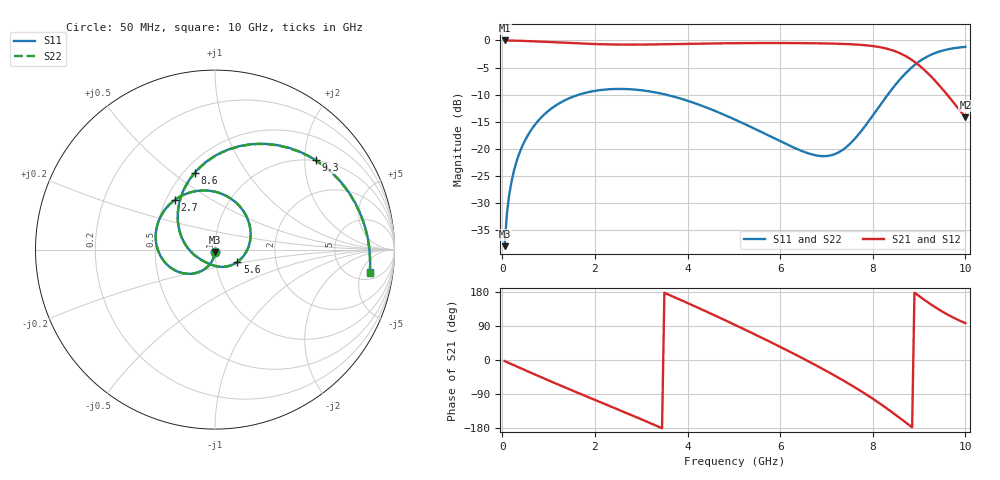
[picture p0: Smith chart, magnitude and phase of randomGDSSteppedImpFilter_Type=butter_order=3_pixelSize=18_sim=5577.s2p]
! freq	dB(S11)	phase(S11)	dB(S12)	phase(S12)
!  dB(S21)	phase(S21)	dB(S22)	phase(S22)
!S-par simulation data
#  GHz  S  DB  R 50
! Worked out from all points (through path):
!   200 points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, 50 MHz to 10 GHz, reference 50 ohm
!   highest |S21| = -0.01 dB at 50 MHz (marker M1); lowest = -14.2 dB at 10 GHz (marker M2)
!   group delay of S21, straight-line fit = 170 ps
!   lowest |S11| = -38.0 dB at 50 MHz (marker M3), VSWR 1.03, Z = 49.9 - j1.26 ohm
!   |S11| at or under -10 dB: start of sweep to 1.657 GHz; 3.531 GHz to 8.325 GHz (4.794 GHz wide, 80.9 % of centre)
!   |S22| runs from -38.0 to -1.2 dB; largest |S21 - S12| = 0
!   S11 on the Smith chart (normalised r, x): 50 MHz: 1.00, -0.03; 2.7 GHz: 0.56, +0.35; 5.6 GHz: 1.27, -0.18; 8.6 GHz: 0.56, +0.60; 9.3 GHz: 0.99, +2.27; 10 GHz: 7, -7
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0.05  -37.96 -92.5  -0.01 -2.8  -0.01 -2.8  -37.96 -92.5
0.1  -31.96 -95.4  -0.01 -5.5  -0.01 -5.5  -31.96 -95.4
0.2  -26.00 -101.0  -0.03 -11.0  -0.03 -11.0  -26.00 -101.0
0.5  -18.30 -117.7  -0.10 -27.3  -0.10 -27.3  -18.30 -117.7
1.15  -12.02 -152.4  -0.36 -61.8  -0.36 -61.8  -12.03 -152.5
1.75  -9.77 176.7  -0.60 -92.7  -0.60 -92.7  -9.77 176.6
2.7  -8.98 128.6  -0.77 -140.9  -0.77 -140.9  -8.98 128.4
3.4  -9.75 92.5  -0.72 -177.3  -0.72 -177.3  -9.75 92.2
4.15  -11.56 52.3  -0.61 142.1  -0.61 142.1  -11.56 52.0
5.05  -14.70 2.5  -0.51 91.2  -0.51 91.2  -14.70 2.4
5.6  -16.92 -28.8  -0.48 58.9  -0.48 58.9  -16.92 -28.4
6.2  -19.40 -64.3  -0.48 22.4  -0.48 22.4  -19.39 -63.1
6.7  -21.07 -96.8  -0.52 -9.3  -0.52 -9.3  -21.05 -94.8
7.15  -21.07 -130.7  -0.59 -39.2  -0.59 -39.2  -21.07 -128.6
7.65  -17.78 -172.4  -0.76 -74.9  -0.76 -74.9  -17.81 -171.2
8  -13.86 158.1  -1.04 -102.1  -1.04 -102.1  -13.88 158.6
8.35  -9.71 127.6  -1.63 -131.9  -1.63 -131.9  -9.72 127.6
8.6  -7.06 104.8  -2.41 -154.5  -2.41 -154.5  -7.07 104.6
8.95  -4.22 72.2  -4.26 173.2  -4.26 173.2  -4.22 71.9
9.3  -2.48 41.5  -7.02 143.1  -7.02 143.1  -2.48 41.1
9.65  -1.59 14.6  -10.46 117.6  -10.46 117.6  -1.59 14.2
10  -1.19 -8.2  -14.19 97.1  -14.19 97.1  -1.19 -8.6
